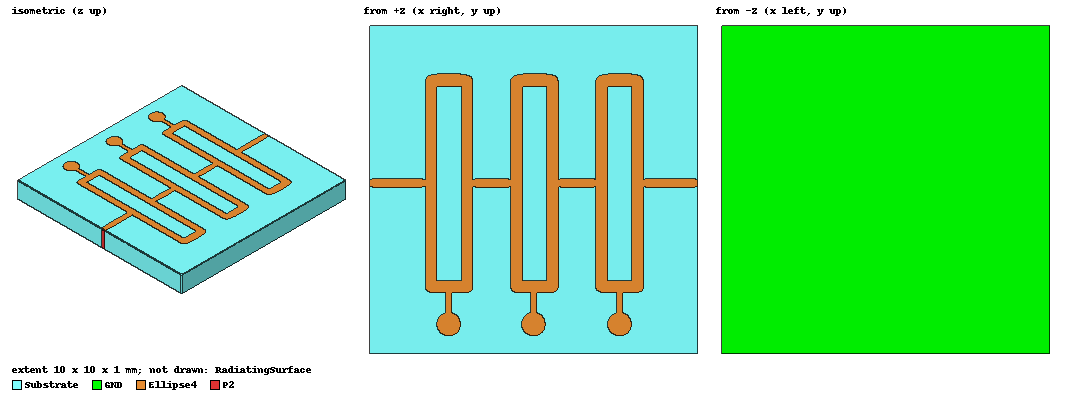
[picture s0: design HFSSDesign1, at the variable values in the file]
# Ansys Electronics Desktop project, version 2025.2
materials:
  vacuum: permittivity=1
  Rogers RT/duroid 5880 (tm): permittivity=2.2 dielectric_loss_tangent=0.0009
  Rogers RT/duroid 6006 (tm): permittivity=6.15 dielectric_loss_tangent=0.0019

design HFSSDesign1 (HFSS, HFSS Terminal Network, model units mm)
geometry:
  Substrate [Rogers RT/duroid 5880 (tm)] = box(corner=(-5mm, 5mm, -1mm), size=(10mm, -10mm, 1mm))
  GND = rectangle(corner=(-5mm, 5mm, -1mm), x_size=10mm, y_size=-10mm)
  Rectangle1 = rectangle(corner=(-5mm, 0.3mm, 0mm), x_size=1.7mm, y_size=-0.2mm)
  Rectangle2 = rectangle(corner=(3.3mm, 0.3mm, 0mm), x_size=1.7mm, y_size=-0.2mm)
  Rectangle3 = rectangle(corner=(-3.3mm, 3.3mm, 0mm), x_size=0.35mm, y_size=-6.3mm)
  Rectangle4 = rectangle(corner=(-2.2mm, 3.3mm, 0mm), x_size=0.35mm, y_size=-6.3mm)
  Rectangle5 = rectangle(corner=(-0.7mm, 3.3mm, 0mm), x_size=0.35mm, y_size=-6.3mm)
  Rectangle6 = rectangle(corner=(0.4mm, 3.3mm, 0mm), x_size=0.35mm, y_size=-6.3mm)
  Rectangle7 = rectangle(corner=(1.9mm, 3.3mm, 0mm), x_size=0.35mm, y_size=-6.3mm)
  Rectangle8 = rectangle(corner=(3mm, 3.3mm, 0mm), x_size=0.35mm, y_size=-6.3mm)
  Rectangle9 = rectangle(corner=(-3.125mm, 3.13mm, 0mm), x_size=1.11mm, y_size=0.35mm)
  Circle1 = circle(normal=Z, centre=(-3.125mm, 3.305mm, 0mm), radius=0.1767767mm)
  Circle2 = circle(normal=Z, centre=(-2.026mm, 3.305mm, 0mm), radius=0.1767767mm)
  Rectangle10 = rectangle(corner=(-0.53mm, 3.13mm, 0mm), x_size=1.11mm, y_size=0.35mm)
  Circle3 = circle(normal=Z, centre=(-0.524mm, 3.305mm, 0mm), radius=0.1767767mm)
  Circle4 = circle(normal=Z, centre=(0.573mm, 3.305mm, 0mm), radius=0.1767767mm)
  Rectangle11 = rectangle(corner=(2.059mm, 3.13mm, 0mm), x_size=1.11mm, y_size=0.35mm)
  Circle5 = circle(normal=Z, centre=(2.076mm, 3.305mm, 0mm), radius=0.1767767mm)
  Circle6 = circle(normal=Z, centre=(3.173mm, 3.305mm, 0mm), radius=0.1767767mm)
  Ellipse1 = ellipse(normal=Z, centre=(-2.58mm, 3.42mm, 0mm), major_radius=0.68mm, ratio=0.17647059)
  Ellipse2 = ellipse(normal=Z, centre=(0.027mm, 3.42mm, 0mm), major_radius=0.68mm, ratio=0.17647059)
  Ellipse3 = ellipse(normal=Z, centre=(2.62mm, 3.42mm, 0mm), major_radius=0.68mm, ratio=0.17647059)
  Rectangle12 = rectangle(corner=(-3.125mm, -3.13mm, 0mm), x_size=1.11mm, y_size=0.35mm)
  Circle7 = circle(normal=Z, centre=(-3.124mm, -2.953mm, 0mm), radius=0.1767767mm)
  Circle8 = circle(normal=Z, centre=(-2.0255mm, -2.953mm, 0mm), radius=0.1767767mm)
  Rectangle13 = rectangle(corner=(-0.53mm, -3.13mm, 0mm), x_size=1.11mm, y_size=0.35mm)
  Circle9 = circle(normal=Z, centre=(-0.5265mm, -2.953mm, 0mm), radius=0.1767767mm)
  Circle10 = circle(normal=Z, centre=(0.575mm, -2.953mm, 0mm), radius=0.1767767mm)
  Rectangle14 = rectangle(corner=(2.058mm, -3.13mm, 0mm), x_size=1.11mm, y_size=0.35mm)
  Circle11 = circle(normal=Z, centre=(2.073mm, -2.953mm, 0mm), radius=0.1767767mm)
  Circle12 = circle(normal=Z, centre=(3.175mm, -2.953mm, 0mm), radius=0.1767767mm)
  Rectangle15 = rectangle(corner=(-1.85mm, 0.3mm, 0mm), x_size=1.151mm, y_size=-0.2mm)
  Rectangle16 = rectangle(corner=(0.75mm, 0.3mm, 0mm), x_size=1.151mm, y_size=-0.2mm)
  Ellipse4 = ellipse(normal=Z, centre=(-4.15mm, 0.3mm, 0mm), major_radius=0.85mm, ratio=0.058823529)
  Ellipse5 = ellipse(normal=Z, centre=(-4.15mm, 0.1mm, 0mm), major_radius=0.85mm, ratio=0.058823529)
  Ellipse6 = ellipse(normal=Z, centre=(-1.2745mm, 0.3mm, 0mm), major_radius=0.5755mm, ratio=0.086880973)
  Ellipse7 = ellipse(normal=Z, centre=(-1.2745mm, 0.1mm, 0mm), major_radius=0.5755mm, ratio=0.086880973)
  Ellipse8 = ellipse(normal=Z, centre=(1.3255mm, 0.3mm, 0mm), major_radius=0.5755mm, ratio=0.086880973)
  Ellipse9 = ellipse(normal=Z, centre=(1.3255mm, 0.1mm, 0mm), major_radius=0.5755mm, ratio=0.086880973)
  Ellipse10 = ellipse(normal=Z, centre=(4.15mm, 0.3mm, 0mm), major_radius=0.85mm, ratio=0.058823529)
  Ellipse11 = ellipse(normal=Z, centre=(4.15mm, 0.1mm, 0mm), major_radius=0.85mm, ratio=0.058823529)
  Rectangle17 = rectangle(corner=(-2.69mm, -2.78mm, 0mm), x_size=0.2mm, y_size=-1.02mm)
  Circle13 = circle(normal=Z, centre=(-2.59mm, -4.1mm, 0mm), radius=0.36055513mm)
  Rectangle18 = rectangle(corner=(-0.1mm, -2.78mm, 0mm), x_size=0.2mm, y_size=-1.02mm)
  Rectangle19 = rectangle(corner=(2.525mm, -2.78mm, 0mm), x_size=0.2mm, y_size=-1.02mm)
  Circle14 = circle(normal=Z, centre=(-0.005mm, -4.1mm, 0mm), radius=0.36055513mm)
  Circle15 = circle(normal=Z, centre=(2.62mm, -4.1mm, 0mm), radius=0.36055513mm)
  P1 = rectangle(corner=(-5mm, 0.3mm, 0mm), y_size=-0.2mm, z_size=-1mm)
  P2 = rectangle(corner=(5mm, 0.3mm, 0mm), y_size=-0.2mm, z_size=-1mm)
  Rectangle3.unite(Rectangle9, Ellipse1, Circle1, Circle2, Rectangle4, Rectangle12, Rectangle17, Circle7, Circle8, Circle13)
  Rectangle13.unite(Circle10, Rectangle18, Circle14, Rectangle5, Circle9, Rectangle6, Rectangle10, Ellipse2, Circle3, Circle4)
  Rectangle13.unite(Ellipse3, Rectangle11, Circle6, Circle5, Rectangle7, Rectangle8, Rectangle19, Rectangle14, Circle11, Circle12, Circle15)
  Ellipse10.unite(Ellipse11, Rectangle2)
  Ellipse9.unite(Rectangle16, Ellipse8)
  Ellipse9.unite(Ellipse7, Rectangle15, Ellipse6)
  Ellipse4.unite(Ellipse5, Rectangle1)
  Ellipse4.unite(Rectangle3, Ellipse9, Rectangle13, Ellipse10)
  RadiatingSurface [vacuum] = region(absolute_offset=40.816327mm on all sides)
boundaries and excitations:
  PerfE1: Perfect E Objects=[Ellipse4, GND]
  Open1: Radiation Objects=RadiatingSurface
  1: Lumped Port Objects=P1 LumpedPortType=Modal Modes{Mode1{IntLine{(-5, 0.2, -1) -> (-5, 0.2, 0)} CharImp=Zpi RenormImp=50ohm}} Impedance=50ohm
  2: Lumped Port Objects=P2 LumpedPortType=Modal Modes{Mode1{IntLine{(5, 0.2, -1) -> (5, 0.2, 0)} CharImp=Zpi RenormImp=50ohm}} Impedance=50ohm
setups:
  Setup1: HfssDriven Frequency=5GHz MaxDeltaS=0.02 MaximumPasses=12 MinimumPasses=1 MinimumConvergedPasses=1 PercentRefinement=30 BasisOrder=1 PortAccuracy=2 DrivenSolverType="Direct Solver"
    sweep Sweep: 2.5GHz to 7.5GHz, 401 points; Type=Fast SaveFields
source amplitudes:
  1:1: 1V 0deg
  2:1: 0V 0deg
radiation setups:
  3D: Infinite Sphere Theta=0deg..180deg step 2deg Phi=-180deg..180deg step 2deg
  Elevation: Infinite Sphere Theta=-180deg..180deg step 1deg Phi=0deg..90deg step 90deg
  Azimuth: Infinite Sphere Theta=90deg..90deg step 0deg Phi=-180deg..180deg step 1deg
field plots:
  Mag_E1: E Field over Ellipse4.face(at (0, -0.460278, 0)) on Setup1 : LastAdaptive at Freq=5GHz Phase=0deg
  Mag_H1: H Field over Ellipse4.face(at (0, -0.460278, 0)) on Setup1 : LastAdaptive at Freq=5GHz Phase=0deg
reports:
  S Parameter Plot1: dB(S(1,1)), dB(S(2,1)) vs Freq on Setup1 : Sweep
  VSWR Plot1: VSWR(1) vs Freq on Setup1 : Sweep
  S Parameter Chart1: S(1,1) on Setup1 : Sweep [Freq=all]
